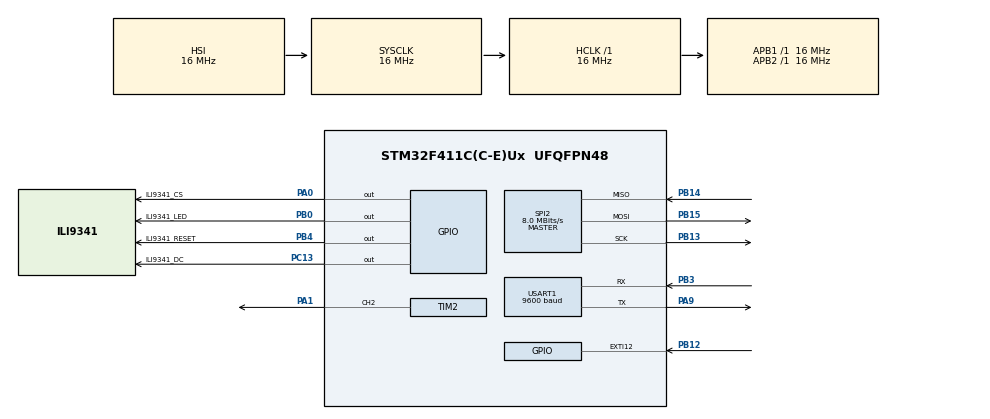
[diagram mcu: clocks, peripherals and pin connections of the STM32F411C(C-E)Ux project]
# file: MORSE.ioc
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Mcu.Family=STM32F4
Mcu.Name=STM32F411C(C-E)Ux
Mcu.Package=UFQFPN48
NVIC.EXTI15_10_IRQn=true\:1\:0\:true\:false\:true\:true\:true\:true
NVIC.PriorityGroup=NVIC_PRIORITYGROUP_4
NVIC.USART1_IRQn=true\:0\:0\:false\:false\:true\:true\:true\:true
PA0-WKUP.GPIO_Label=ILI9341_CS
PA0-WKUP.Signal=GPIO_Output
PA1.Signal=S_TIM2_CH2
PA9.Mode=Asynchronous
PA9.Signal=USART1_TX
PB0.GPIO_Label=ILI9341_LED
PB0.PinState=GPIO_PIN_SET
PB0.Signal=GPIO_Output
PB12.GPIO_ModeDefaultEXTI=GPIO_MODE_IT_RISING
PB12.GPIO_PuPd=GPIO_PULLUP
PB12.Signal=GPXTI12
PB13.Mode=Full_Duplex_Master
PB13.Signal=SPI2_SCK
PB14.Mode=Full_Duplex_Master
PB14.Signal=SPI2_MISO
PB15.Mode=Full_Duplex_Master
PB15.Signal=SPI2_MOSI
PB3.GPIO_PuPd=GPIO_PULLUP
PB3.Mode=Asynchronous
PB3.Signal=USART1_RX
PB4.GPIO_Label=ILI9341_RESET
PB4.Signal=GPIO_Output
PB5.Signal=S_TIM3_CH2
PC13-ANTI_TAMP.GPIO_Label=ILI9341_DC
PC13-ANTI_TAMP.PinState=GPIO_PIN_RESET
PC13-ANTI_TAMP.Signal=GPIO_Output
PC14-OSC32_IN.Mode=LSE-External-Oscillator
PC14-OSC32_IN.Signal=RCC_OSC32_IN
PC15-OSC32_OUT.Mode=LSE-External-Oscillator
PC15-OSC32_OUT.Signal=RCC_OSC32_OUT
PH0\ -\ OSC_IN.Mode=HSE-External-Oscillator
PH0\ -\ OSC_IN.Signal=RCC_OSC_IN
PH1\ -\ OSC_OUT.Mode=HSE-External-Oscillator
PH1\ -\ OSC_OUT.Signal=RCC_OSC_OUT
ProjectManager.HeapSize=0x200
ProjectManager.StackSize=0x400
ProjectManager.TargetToolchain=STM32CubeIDE
RCC.AHBFreq_Value=16000000
RCC.APB1Freq_Value=16000000
RCC.APB2Freq_Value=16000000
RCC.CortexFreq_Value=16000000
RCC.HSE_VALUE=25000000
RCC.HSI_VALUE=16000000
RCC.SYSCLKFreq_VALUE=16000000
RCC.VCOOutputFreq_Value=192000000
SH.S_TIM2_CH2.0=TIM2_CH2,PWM Generation2 CH2
SH.S_TIM3_CH2.0=TIM3_CH2
SPI2.CalculateBaudRate=8.0 MBits/s
SPI2.Direction=SPI_DIRECTION_2LINES
SPI2.Mode=SPI_MODE_MASTER
SPI2.VirtualType=VM_MASTER
TIM2.Channel-PWM\ Generation2\ CH2=TIM_CHANNEL_2
TIM2.Period=95
TIM2.Prescaler=999
TIM2.Pulse-PWM\ Generation2\ CH2=3750
TIM3.Period=95
TIM3.Prescaler=999
USART1.BaudRate=9600
USART1.Mode=MODE_RX
USART1.VirtualMode=VM_ASYNC
USART1.WordLength=WORDLENGTH_8B
VP_TIM2_VS_ClockSourceINT.Mode=Internal
VP_TIM3_VS_ClockSourceINT.Mode=Internal
board=custom

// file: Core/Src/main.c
/* USER CODE BEGIN Header */
/**

  ******************************************************************************

  * @file           : main.c

  * @brief          : Main program body

  ******************************************************************************

  * @attention

  *

  * Copyright (c) 2025 STMicroelectronics.

  * All rights reserved.

  *

  * This software is licensed under terms that can be found in the LICENSE file

  * in the root directory of this software component.

  * If no LICENSE file comes with this software, it is provided AS-IS.

  *

  ******************************************************************************

  */

/* USER CODE END Header */
#include "main.h"

/* USER CODE BEGIN Includes */
#include "ili9341.h"
//#include "ssd1306.h"
#include "fonts.h"
#include <string.h>
#include <stdint.h>
#include "stdio.h"
//#include "usbd_cdc_if.h"
/* USER CODE END Includes */

/* USER CODE BEGIN PTD */
//flag enabled by the ISR to break the loop
volatile int flag_break = 0;
extern uint8_t CDC_Transmit_FS(uint8_t* Buf, uint16_t Len);
/* USER CODE END PTD */

/* USER CODE BEGIN PD */

// Morse code lookup table for A-Z and 0-9
const char* MorseCodeMap[36] = {

  /* A-Z */

  ".-", "-...", "-.-.", "-..", ".", "..-.", "--.", "....", "..", ".---",

  "-.-", ".-..", "--", "-.", "---", ".--.", "--.-", ".-.", "...", "-",

  "..-", "...-", ".--", "-..-", "-.--", "--..",

  /* 0-9 */

  "-----", ".----", "..---", "...--", "....-", ".....", "-....", "--...", "---..", "----."
};

/* USER CODE END PD */

SPI_HandleTypeDef hspi2;

TIM_HandleTypeDef htim2;
TIM_HandleTypeDef htim3;

UART_HandleTypeDef huart1;

/* USER CODE BEGIN PV */
uint8_t selector = 0;

ILI9341TypeDef display;

#define RX_BUFFER_SIZE 100
uint8_t rx_data; // single byte received
volatile char rx_buffer[RX_BUFFER_SIZE];
volatile uint8_t rx_index = 0;
volatile uint8_t message_received = 0;

char message[100];

volatile char mes_char;

/* USER CODE END PV */

void SystemClock_Config(void);
static void MX_GPIO_Init(void);
static void MX_TIM2_Init(void);
static void MX_SPI2_Init(void);
static void MX_TIM3_Init(void);
static void MX_USART1_UART_Init(void);
/* USER CODE BEGIN PFP */

//static void drawAxis(ILI9341TypeDef *display);
//static void clearCursor(ILI9341TypeDef *display, uint16_t pos);
//static void clearTrigger(ILI9341TypeDef *display, uint16_t pos);
//static void drawCursor(ILI9341TypeDef *display, uint16_t pos, char *name, uint16_t color);
//static void drawTrigger(ILI9341TypeDef *display, uint16_t pos, char *name, uint16_t color);
//static void drawSignal(ILI9341TypeDef *display, uint32_t *adc_time, uint16_t *adc0, uint32_t adc_length, uint16_t pixel_dirty[280][2], uint16_t cursor, uint16_t color);
//static void clearSignal(ILI9341TypeDef *display, uint16_t pixel_dirty[280][2]);
//static void drawSignalParam(ILI9341TypeDef *display, char *string, size_t size, uint16_t adc_max, uint16_t adc_min, uint32_t adc_period);

void USB_DEVICE_MasterHardReset(void);

/**
 * @brief  gets the index for a character (A-Z, a-z, 0-9)
 * @param  c: character
 * @retval index
 */
int mapIndex(char c) {

    if (c >= 'A' && c <= 'Z') return c - 'A';       // 0-25

    if (c >= 'a' && c <= 'z') return c - 'a';         // 0-25 (case-insensitive)

    if (c >= '0' && c <= '9') return 26 + (c - '0');   // 26-35 for 0-9

    return -1; // invalid character

}

/**
 * @brief  Triggers the buzzer to reproduce Morse code.
 * @param  code: character
 * @retval none
 */
void blinkMorse(const char* code) {

    for (const char* p = code; *p != '\0'; p++) {

        if(flag_break == 1){
        	//breaks the for loop if flag_break is enabled in the interruption routine.
        	break;
        }

        // Changes Duty Cycle of the PWM output to 17% to trigger the buzzer.
        TIM2->CCR2 = 15;

        if (*p == '.') {

            HAL_Delay(200);       // Dot: 200ms on

        } else if (*p == '-') {

            HAL_Delay(600);       // Dash: 600ms on

        }

        // Changes Duty Cycle of the PWM output to 0% to turn off the buzzer.
        TIM2->CCR2 = 0;

        if(flag_break == 1){
        	//breaks the for loop if flag_break is enabled in the interruption routine.
        	break;
        }

        if (*(p+1) != '\0') {
        	// Intra-character gap: 200ms off if more symbols follow in the same letter
            HAL_Delay(200);
        }

    }

}

/* USER CODE END PFP */

int main(void)
{

  /* MCU Configuration--------------------------------------------------------*/

  /* Reset of all peripherals, Initializes the Flash interface and the Systick. */
  HAL_Init();

  /* Configure the system clock */
  SystemClock_Config();

  /* Initialize all configured peripherals */
  MX_GPIO_Init();
  MX_TIM2_Init();
  MX_SPI2_Init();
  MX_TIM3_Init();
  MX_USART1_UART_Init();
  /* USER CODE BEGIN 2 */

  // Display init
  	display.spi             = &hspi2;
  	display.cs_gpio_port    = ILI9341_CS_GPIO_Port;
  	display.dc_gpio_port    = ILI9341_DC_GPIO_Port;
  	display.reset_gpio_port = ILI9341_RESET_GPIO_Port;
  	display.cs_pin          = ILI9341_CS_Pin;
  	display.dc_pin          = ILI9341_DC_Pin;
  	display.reset_pin       = ILI9341_RESET_Pin;
  	display.width           = 320;
  	display.height          = 240;
  	display.orientation     = ILI9341_ORIENTATION_ROTATE_RIGHT;

  	ILI9341_UNSELECT(&display);
  	ILI9341_Init(&display);
  	char string[255];

  	// Start Display background color
  	ILI9341_FillScreen(&display, ILI9341_BLACK);

  	// Print Title
  	snprintf(string, 255, "Morse Encoder");
  	ILI9341_WriteString(&display, 60, 18 * 0, string, Font_16x26, ILI9341_YELLOW, ILI9341_BLACK);

  	HAL_Delay(1000);

  	HAL_UART_Receive_IT(&huart1, &rx_data, 1);

	HAL_GPIO_WritePin(GPIOC, GPIO_PIN_13, GPIO_PIN_SET);
	HAL_TIM_PWM_Start(&htim2, TIM_CHANNEL_2);

	HAL_UART_Receive_IT(&huart1, &rx_data, 1);

	char blank_m[50];  //
	strcpy(blank_m, "                     ");  // blank string

  /* USER CODE END 2 */

  /* Infinite loop */
  /* USER CODE BEGIN WHILE */

  while (1)
  {

	  //reset flag_break (Enable at interruption routine)
	  flag_break = 0;

		if (message_received==1) {
			message_received = 0;
			strcpy(message, rx_buffer);

		}

	  HAL_Delay(500);

	  // Iterate through each character of the message
	  for (uint32_t i = 0; i < strlen(message); i++){

			if(flag_break==1){
				//SSD1306_Clear();
				//SSD1306_GotoXY(0,0);
				break;
			}

			char c[2];
			c[0] = message[i];
			c[1] = '\0';
			ILI9341_WriteString(&display, 24+18*i, 18 * 3, c, Font_16x26, ILI9341_GREEN, ILI9341_BLACK);
			ILI9341_WriteString(&display, 170-18*2, 18 * 7, c, Font_16x26, ILI9341_RED, ILI9341_BLACK);

			// Handle word separation
			if (c[0] == ' ') {
				HAL_Delay(1400);
				 // Inter-word gap: 1400ms off
				continue;

			  }

			// Convert lowercase to uppercase (ensures case insensitivity)
			if (c[0] >= 'a' && c[0] <= 'z') {
			    c[0] -= 32;
			}

			// Get Morse code for valid alphanumeric characters
			int idx = mapIndex(c[0]);

			//Blinks Morse code for valid characters in the message
			if (idx != -1) {
				blinkMorse(MorseCodeMap[idx]);
			}

			if(flag_break==1){
				break;
			}

			// Inter-character gap: 600ms off after each character
			HAL_Delay(600);
	  }

	  ILI9341_WriteString(&display, 24, 18 * 3, blank_m, Font_16x26, ILI9341_BLACK, ILI9341_BLACK);
	  ILI9341_WriteString(&display, 24, 18 * 4, blank_m, Font_16x26, ILI9341_BLACK, ILI9341_BLACK);
	  // Adds a delay before repeating the message
	  HAL_Delay(600);

    /* USER CODE END WHILE */

  }
}

void SystemClock_Config(void)
{
  RCC_OscInitTypeDef RCC_OscInitStruct = {0};
  RCC_ClkInitTypeDef RCC_ClkInitStruct = {0};

  /** Configure the main internal regulator output voltage
  */
  __HAL_RCC_PWR_CLK_ENABLE();
  __HAL_PWR_VOLTAGESCALING_CONFIG(PWR_REGULATOR_VOLTAGE_SCALE1);

  /** Initializes the RCC Oscillators according to the specified parameters
  * in the RCC_OscInitTypeDef structure.
  */
  RCC_OscInitStruct.OscillatorType = RCC_OSCILLATORTYPE_HSI;
  RCC_OscInitStruct.HSIState = RCC_HSI_ON;
  RCC_OscInitStruct.HSICalibrationValue = RCC_HSICALIBRATION_DEFAULT;
  RCC_OscInitStruct.PLL.PLLState = RCC_PLL_NONE;
  if (HAL_RCC_OscConfig(&RCC_OscInitStruct) != HAL_OK)
  {
    Error_Handler();
  }

  /** Initializes the CPU, AHB and APB buses clocks
  */
  RCC_ClkInitStruct.ClockType = RCC_CLOCKTYPE_HCLK|RCC_CLOCKTYPE_SYSCLK
                              |RCC_CLOCKTYPE_PCLK1|RCC_CLOCKTYPE_PCLK2;
  RCC_ClkInitStruct.SYSCLKSource = RCC_SYSCLKSOURCE_HSI;
  RCC_ClkInitStruct.AHBCLKDivider = RCC_SYSCLK_DIV1;
  RCC_ClkInitStruct.APB1CLKDivider = RCC_HCLK_DIV1;
  RCC_ClkInitStruct.APB2CLKDivider = RCC_HCLK_DIV1;

  if (HAL_RCC_ClockConfig(&RCC_ClkInitStruct, FLASH_LATENCY_0) != HAL_OK)
  {
    Error_Handler();
  }
}

static void MX_SPI2_Init(void)
{

  /* SPI2 parameter configuration*/
  hspi2.Instance = SPI2;
  hspi2.Init.Mode = SPI_MODE_MASTER;
  hspi2.Init.Direction = SPI_DIRECTION_2LINES;
  hspi2.Init.DataSize = SPI_DATASIZE_8BIT;
  hspi2.Init.CLKPolarity = SPI_POLARITY_LOW;
  hspi2.Init.CLKPhase = SPI_PHASE_1EDGE;
  hspi2.Init.NSS = SPI_NSS_SOFT;
  hspi2.Init.BaudRatePrescaler = SPI_BAUDRATEPRESCALER_2;
  hspi2.Init.FirstBit = SPI_FIRSTBIT_MSB;
  hspi2.Init.TIMode = SPI_TIMODE_DISABLE;
  hspi2.Init.CRCCalculation = SPI_CRCCALCULATION_DISABLE;
  hspi2.Init.CRCPolynomial = 10;
  if (HAL_SPI_Init(&hspi2) != HAL_OK)
  {
    Error_Handler();
  }

}

static void MX_TIM2_Init(void)
{

  TIM_ClockConfigTypeDef sClockSourceConfig = {0};
  TIM_MasterConfigTypeDef sMasterConfig = {0};
  TIM_OC_InitTypeDef sConfigOC = {0};

  htim2.Instance = TIM2;
  htim2.Init.Prescaler = 999;
  htim2.Init.CounterMode = TIM_COUNTERMODE_UP;
  htim2.Init.Period = 95;
  htim2.Init.ClockDivision = TIM_CLOCKDIVISION_DIV1;
  htim2.Init.AutoReloadPreload = TIM_AUTORELOAD_PRELOAD_DISABLE;
  if (HAL_TIM_Base_Init(&htim2) != HAL_OK)
  {
    Error_Handler();
  }
  sClockSourceConfig.ClockSource = TIM_CLOCKSOURCE_INTERNAL;
  if (HAL_TIM_ConfigClockSource(&htim2, &sClockSourceConfig) != HAL_OK)
  {
    Error_Handler();
  }
  if (HAL_TIM_PWM_Init(&htim2) != HAL_OK)
  {
    Error_Handler();
  }
  sMasterConfig.MasterOutputTrigger = TIM_TRGO_RESET;
  sMasterConfig.MasterSlaveMode = TIM_MASTERSLAVEMODE_DISABLE;
  if (HAL_TIMEx_MasterConfigSynchronization(&htim2, &sMasterConfig) != HAL_OK)
  {
    Error_Handler();
  }
  sConfigOC.OCMode = TIM_OCMODE_PWM1;
  sConfigOC.Pulse = 3750;
  sConfigOC.OCPolarity = TIM_OCPOLARITY_HIGH;
  sConfigOC.OCFastMode = TIM_OCFAST_DISABLE;
  if (HAL_TIM_PWM_ConfigChannel(&htim2, &sConfigOC, TIM_CHANNEL_2) != HAL_OK)
  {
    Error_Handler();
  }
  HAL_TIM_MspPostInit(&htim2);

}

static void MX_TIM3_Init(void)
{

  TIM_ClockConfigTypeDef sClockSourceConfig = {0};
  TIM_MasterConfigTypeDef sMasterConfig = {0};

  htim3.Instance = TIM3;
  htim3.Init.Prescaler = 999;
  htim3.Init.CounterMode = TIM_COUNTERMODE_UP;
  htim3.Init.Period = 95;
  htim3.Init.ClockDivision = TIM_CLOCKDIVISION_DIV1;
  htim3.Init.AutoReloadPreload = TIM_AUTORELOAD_PRELOAD_DISABLE;
  if (HAL_TIM_Base_Init(&htim3) != HAL_OK)
  {
    Error_Handler();
  }
  sClockSourceConfig.ClockSource = TIM_CLOCKSOURCE_INTERNAL;
  if (HAL_TIM_ConfigClockSource(&htim3, &sClockSourceConfig) != HAL_OK)
  {
    Error_Handler();
  }
  sMasterConfig.MasterOutputTrigger = TIM_TRGO_RESET;
  sMasterConfig.MasterSlaveMode = TIM_MASTERSLAVEMODE_DISABLE;
  if (HAL_TIMEx_MasterConfigSynchronization(&htim3, &sMasterConfig) != HAL_OK)
  {
    Error_Handler();
  }

}

static void MX_USART1_UART_Init(void)
{

  huart1.Instance = USART1;
  huart1.Init.BaudRate = 9600;
  huart1.Init.WordLength = UART_WORDLENGTH_8B;
  huart1.Init.StopBits = UART_STOPBITS_1;
  huart1.Init.Parity = UART_PARITY_NONE;
  huart1.Init.Mode = UART_MODE_RX;
  huart1.Init.HwFlowCtl = UART_HWCONTROL_NONE;
  huart1.Init.OverSampling = UART_OVERSAMPLING_16;
  if (HAL_UART_Init(&huart1) != HAL_OK)
  {
    Error_Handler();
  }

}

static void MX_GPIO_Init(void)
{
  GPIO_InitTypeDef GPIO_InitStruct = {0};

  /* GPIO Ports Clock Enable */
  __HAL_RCC_GPIOC_CLK_ENABLE();
  __HAL_RCC_GPIOH_CLK_ENABLE();
  __HAL_RCC_GPIOA_CLK_ENABLE();
  __HAL_RCC_GPIOB_CLK_ENABLE();

  /*Configure GPIO pin Output Level */
  HAL_GPIO_WritePin(ILI9341_DC_GPIO_Port, ILI9341_DC_Pin, GPIO_PIN_RESET);

  /*Configure GPIO pin Output Level */
  HAL_GPIO_WritePin(ILI9341_CS_GPIO_Port, ILI9341_CS_Pin, GPIO_PIN_RESET);

  /*Configure GPIO pin Output Level */
  HAL_GPIO_WritePin(ILI9341_LED_GPIO_Port, ILI9341_LED_Pin, GPIO_PIN_SET);

  /*Configure GPIO pin Output Level */
  HAL_GPIO_WritePin(ILI9341_RESET_GPIO_Port, ILI9341_RESET_Pin, GPIO_PIN_RESET);

  /*Configure GPIO pin : ILI9341_DC_Pin */
  GPIO_InitStruct.Pin = ILI9341_DC_Pin;
  GPIO_InitStruct.Mode = GPIO_MODE_OUTPUT_PP;
  GPIO_InitStruct.Pull = GPIO_NOPULL;
  GPIO_InitStruct.Speed = GPIO_SPEED_FREQ_LOW;
  HAL_GPIO_Init(ILI9341_DC_GPIO_Port, &GPIO_InitStruct);

  /*Configure GPIO pin : ILI9341_CS_Pin */
  GPIO_InitStruct.Pin = ILI9341_CS_Pin;
  GPIO_InitStruct.Mode = GPIO_MODE_OUTPUT_PP;
  GPIO_InitStruct.Pull = GPIO_NOPULL;
  GPIO_InitStruct.Speed = GPIO_SPEED_FREQ_LOW;
  HAL_GPIO_Init(ILI9341_CS_GPIO_Port, &GPIO_InitStruct);

  /*Configure GPIO pins : ILI9341_LED_Pin ILI9341_RESET_Pin */
  GPIO_InitStruct.Pin = ILI9341_LED_Pin|ILI9341_RESET_Pin;
  GPIO_InitStruct.Mode = GPIO_MODE_OUTPUT_PP;
  GPIO_InitStruct.Pull = GPIO_NOPULL;
  GPIO_InitStruct.Speed = GPIO_SPEED_FREQ_LOW;
  HAL_GPIO_Init(GPIOB, &GPIO_InitStruct);

  /*Configure GPIO pin : PB12 */
  GPIO_InitStruct.Pin = GPIO_PIN_12;
  GPIO_InitStruct.Mode = GPIO_MODE_IT_RISING;
  GPIO_InitStruct.Pull = GPIO_PULLUP;
  HAL_GPIO_Init(GPIOB, &GPIO_InitStruct);

  /* EXTI interrupt init*/
  HAL_NVIC_SetPriority(EXTI15_10_IRQn, 1, 0);
  HAL_NVIC_EnableIRQ(EXTI15_10_IRQn);

}

/* USER CODE BEGIN 4 */
/**
  * @brief  UART receive complete callback (interrupt mode).
  * @note   Triggered when a byte is received via USART1.
  * Assembles a string until '\n' is received.
  * @param  huart: Pointer to the UART handle.
  * @retval None
  */
void HAL_UART_RxCpltCallback(UART_HandleTypeDef *huart) {

    if (huart->Instance == USART1) {
        if (rx_data != '\n' && rx_index < RX_BUFFER_SIZE - 1) {
            rx_buffer[rx_index++] = (char)rx_data;
        } else {
            rx_buffer[rx_index] = '\0';  // Null-terminate string
            rx_index = 0;
            message_received = 1;
            flag_break=1;
        }

        HAL_UART_Receive_IT(&huart1, &rx_data, 1); // Re-enable interrupt
    }
}

/*
void USB_DEVICE_MasterHardReset(void) {
    GPIO_InitTypeDef GPIO_InitStruct;
    GPIO_InitStruct.Pin = GPIO_PIN_12;
    GPIO_InitStruct.Mode = GPIO_MODE_OUTPUT_PP;
    GPIO_InitStruct.Pull = GPIO_PULLDOWN;
    GPIO_InitStruct.Speed = GPIO_SPEED_FREQ_HIGH;
    HAL_GPIO_Init(GPIOA, &GPIO_InitStruct);
    HAL_GPIO_WritePin(GPIOA,GPIO_PIN_12,0);
    HAL_Delay(1000);
}
*/

/**
 * @brief  External interrupt (EXTI) callback for GPIO_PIN_12.
 *         Triggered by a button press to set a control flag,
 *         clear the OLED display, and increment a selector variable.
 * @param  GPIO_Pin: The GPIO pin that triggered the interrupt.
 * @retval None
 */
void HAL_GPIO_EXTI_Callback(uint16_t GPIO_Pin) {
    if (GPIO_Pin == GPIO_PIN_12) {
        if (flag_break != 1) {
            flag_break = 1;

            // Clear the OLED display
            //SSD1306_Clear();

            // Set the cursor to the top-left corner
            //SSD1306_GotoXY(0, 0);

            // Increment the selector (can be used to switch menu options)
            selector = selector + 1;

            // wrap selector within a certain range (e.g., 0 to 2)
            selector = selector % 3;
        }
    }
}

/* USER CODE END 4 */

void Error_Handler(void)
{
  __disable_irq();
  while (1)
  {
  }
}
